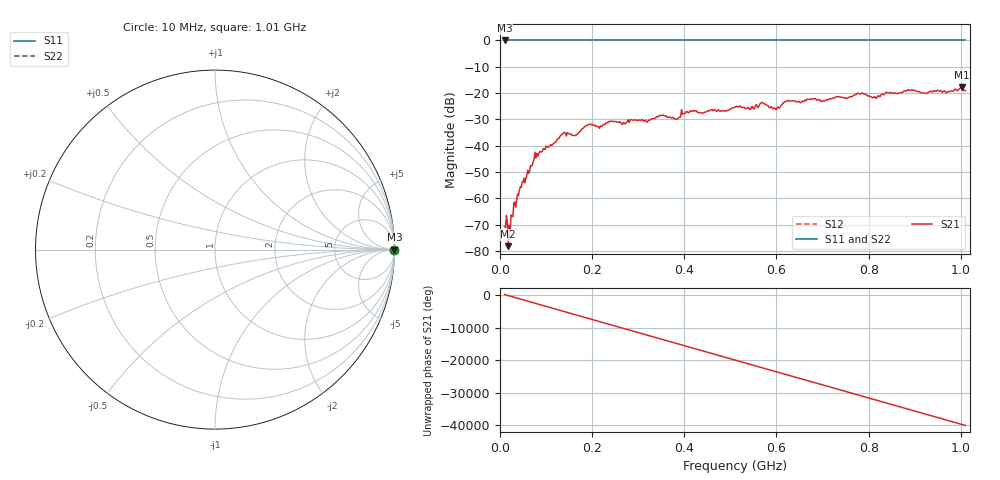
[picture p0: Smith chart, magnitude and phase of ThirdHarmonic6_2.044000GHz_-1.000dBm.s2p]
! 8/17/2025 12:30:52 AM
! C:\ANRITSUVNA\TEMP\TEMP.S2P
! CHANNEL.1
! TR.MEASUREMENT
! RAW.DATA
! RF.CORRECTION.OFF
! AVERAGING.OFF
! IF.BANDWIDTH: 5KHZ
! SWEEPTYPE:  FREQ.SWEEP(Linear)
! Reference Plane Port Info
! PORT:  PORT1  PORT2
! DISTANCE:  0  m  0  m
! TIME:  0  s  0  s
! PHASE.OFFSET:  0  deg.  0  deg.
! LOSS:  0  dB  0  dB
! REF.LOSS:  0  dB  0  dB
! REF.FREQ:  0  Hz  0  Hz
! Power Info
! POWER:  -20  dBm  -20  dBm
! EFF.POWER:  -20  dBm  -20  dBm
! SOURCE.ATTEN:  0  dB  0  dB
! TEST.ATTEN:  0  dB  0  dB
# GHZ S RI R 50.0
! FREQ.GHZ  S11RE  S11IM  S21RE  S21IM  S12RE  S12IM  S22RE  S22IM
!; PortSelection: Port_12
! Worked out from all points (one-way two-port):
!   501 points, 10 MHz to 1.01 GHz, reference 50 ohm
!   highest |S21| = -17.80 dB at 1.002 GHz (marker M1); lowest = -78.1 dB at 18 MHz (marker M2)
!   lowest |S11| = 0.0 dB at 10 MHz (marker M3)
!   |S11| at or under -10 dB: nowhere
!   |S22| runs from 0.0 to 0.0 dB; largest |S21 - S12| = 1.1
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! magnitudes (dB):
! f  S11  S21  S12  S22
! 10 MHz  0.0  -70.6  0.0  0.0
! 18 MHz  0.0  -78.1  0.0  0.0
! 22 MHz  0.0  -72.1  0.0  0.0
! 28 MHz  0.0  -66.9  0.0  0.0
! 46 MHz  0.0  -55.8  0.0  0.0
! 76 MHz  0.0  -42.4  0.0  0.0
! 136 MHz  0.0  -35.5  0.0  0.0
! 162 MHz  0.0  -36.1  0.0  0.0
! 178 MHz  0.0  -33.6  0.0  0.0
! 344 MHz  0.0  -29.0  0.0  0.0
! 382 MHz  0.0  -29.9  0.0  0.0
! 416 MHz  0.0  -26.9  0.0  0.0
! 510 MHz  0.0  -25.4  0.0  0.0
! 570 MHz  0.0  -23.7  0.0  0.0
! 596 MHz  0.0  -25.7  0.0  0.0
! 622 MHz  0.0  -23.0  0.0  0.0
! 678 MHz  0.0  -22.2  0.0  0.0
! 782 MHz  0.0  -20.3  0.0  0.0
! 814 MHz  0.0  -21.4  0.0  0.0
! 844 MHz  0.0  -19.9  0.0  0.0
! 1.002 GHz  0.0  -17.8  0.0  0.0
! 1.01 GHz  0.0  -19.1  0.0  0.0
